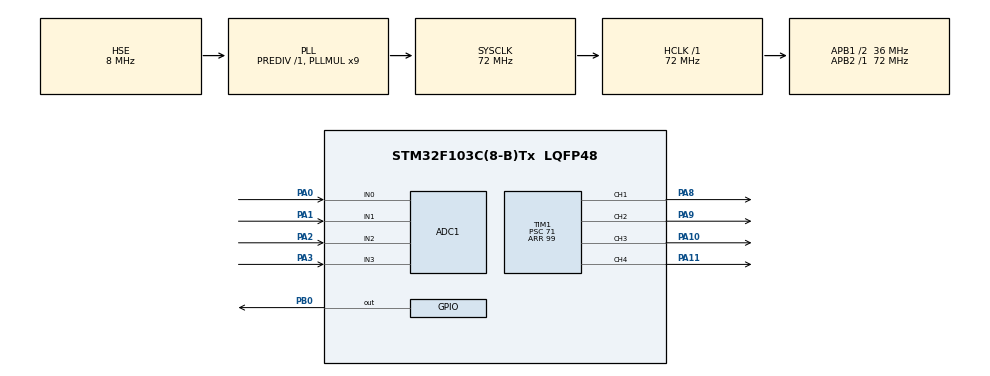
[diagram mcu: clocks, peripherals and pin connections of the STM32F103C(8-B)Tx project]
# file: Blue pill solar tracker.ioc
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ADC1.Channel-0\#ChannelRegularConversion=ADC_CHANNEL_0
ADC1.Channel-1\#ChannelRegularConversion=ADC_CHANNEL_1
ADC1.Channel-2\#ChannelRegularConversion=ADC_CHANNEL_2
ADC1.Channel-3\#ChannelRegularConversion=ADC_CHANNEL_3
ADC1.NbrOfConversion=4
ADC1.NbrOfConversionFlag=1
ADC1.Rank-0\#ChannelRegularConversion=1
ADC1.Rank-1\#ChannelRegularConversion=2
ADC1.Rank-2\#ChannelRegularConversion=3
ADC1.Rank-3\#ChannelRegularConversion=4
ADC1.SamplingTime-0\#ChannelRegularConversion=ADC_SAMPLETIME_1CYCLE_5
ADC1.SamplingTime-1\#ChannelRegularConversion=ADC_SAMPLETIME_1CYCLE_5
ADC1.SamplingTime-2\#ChannelRegularConversion=ADC_SAMPLETIME_1CYCLE_5
ADC1.SamplingTime-3\#ChannelRegularConversion=ADC_SAMPLETIME_1CYCLE_5
ADC1.master=1
Dma.ADC1.0.Direction=DMA_PERIPH_TO_MEMORY
Dma.ADC1.0.Instance=DMA1_Channel1
Dma.ADC1.0.MemDataAlignment=DMA_MDATAALIGN_WORD
Dma.ADC1.0.MemInc=DMA_MINC_ENABLE
Dma.ADC1.0.Mode=DMA_CIRCULAR
Dma.ADC1.0.PeriphDataAlignment=DMA_PDATAALIGN_WORD
Dma.ADC1.0.PeriphInc=DMA_PINC_DISABLE
Dma.ADC1.0.Priority=DMA_PRIORITY_LOW
Dma.Request0=ADC1
Mcu.Family=STM32F1
Mcu.Name=STM32F103C(8-B)Tx
Mcu.Package=LQFP48
NVIC.DMA1_Channel1_IRQn=true\:0\:0\:false\:false\:true\:false\:true\:true
NVIC.PriorityGroup=NVIC_PRIORITYGROUP_4
PA0-WKUP.Signal=ADCx_IN0
PA1.Signal=ADCx_IN1
PA10.GPIO_Speed=GPIO_SPEED_FREQ_HIGH
PA10.Signal=S_TIM1_CH3
PA11.GPIO_Speed=GPIO_SPEED_FREQ_HIGH
PA11.Signal=S_TIM1_CH4
PA13.Mode=Serial_Wire
PA13.Signal=SYS_JTMS-SWDIO
PA14.Mode=Serial_Wire
PA14.Signal=SYS_JTCK-SWCLK
PA2.Signal=ADCx_IN2
PA3.Signal=ADCx_IN3
PA8.GPIO_Speed=GPIO_SPEED_FREQ_HIGH
PA8.Signal=S_TIM1_CH1
PA9.GPIO_Speed=GPIO_SPEED_FREQ_HIGH
PA9.Signal=S_TIM1_CH2
PB0.Signal=GPIO_Output
PD0-OSC_IN.Mode=HSE-External-Oscillator
PD0-OSC_IN.Signal=RCC_OSC_IN
PD1-OSC_OUT.Mode=HSE-External-Oscillator
PD1-OSC_OUT.Signal=RCC_OSC_OUT
ProjectManager.HeapSize=0x200
ProjectManager.StackSize=0x400
ProjectManager.TargetToolchain=STM32CubeIDE
RCC.ADCPresc=RCC_ADCPCLK2_DIV6
RCC.AHBFreq_Value=72000000
RCC.APB1CLKDivider=RCC_HCLK_DIV2
RCC.APB1Freq_Value=36000000
RCC.APB1TimFreq_Value=72000000
RCC.APB2Freq_Value=72000000
RCC.APB2TimFreq_Value=72000000
RCC.HCLKFreq_Value=72000000
RCC.PLLMUL=RCC_PLL_MUL9
RCC.PLLSourceVirtual=RCC_PLLSOURCE_HSE
RCC.SYSCLKFreq_VALUE=72000000
RCC.SYSCLKSource=RCC_SYSCLKSOURCE_PLLCLK
RCC.USBFreq_Value=72000000
SH.ADCx_IN0.0=ADC1_IN0,IN0
SH.ADCx_IN1.0=ADC1_IN1,IN1
SH.ADCx_IN2.0=ADC1_IN2,IN2
SH.ADCx_IN3.0=ADC1_IN3,IN3
SH.S_TIM1_CH1.0=TIM1_CH1,PWM Generation1 CH1
SH.S_TIM1_CH2.0=TIM1_CH2,PWM Generation2 CH2
SH.S_TIM1_CH3.0=TIM1_CH3,PWM Generation3 CH3
SH.S_TIM1_CH4.0=TIM1_CH4,PWM Generation4 CH4
TIM1.Channel-PWM\ Generation1\ CH1=TIM_CHANNEL_1
TIM1.Channel-PWM\ Generation2\ CH2=TIM_CHANNEL_2
TIM1.Channel-PWM\ Generation3\ CH3=TIM_CHANNEL_3
TIM1.Channel-PWM\ Generation4\ CH4=TIM_CHANNEL_4
TIM1.Period=99
TIM1.Prescaler=71
TIM1.Pulse-PWM\ Generation1\ CH1=9
VP_TIM1_VS_ClockSourceINT.Mode=Internal
board=custom

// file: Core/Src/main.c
/* USER CODE BEGIN Header */
/**
  ******************************************************************************
  * @file           : main.c
  * @brief          : Main program body
  ******************************************************************************
  * @attention
  *
  * Copyright (c) 2024 STMicroelectronics.
  * All rights reserved.
  *
  * This software is licensed under terms that can be found in the LICENSE file
  * in the root directory of this software component.
  * If no LICENSE file comes with this software, it is provided AS-IS.
  *
  ******************************************************************************
  */
/* USER CODE END Header */
#include "main.h"

/* USER CODE BEGIN Includes */
#include "solar_tracker.h"
/* USER CODE END Includes */

ADC_HandleTypeDef hadc1;
DMA_HandleTypeDef hdma_adc1;

TIM_HandleTypeDef htim1;

/* USER CODE BEGIN PV */
volatile uint32_t LDR_val[4];
volatile uint32_t motor_output[2];

/* USER CODE END PV */

void SystemClock_Config(void);
static void MX_GPIO_Init(void);
static void MX_DMA_Init(void);
static void MX_TIM1_Init(void);
static void MX_ADC1_Init(void);

int main(void)
{

  /* MCU Configuration--------------------------------------------------------*/

  /* Reset of all peripherals, Initializes the Flash interface and the Systick. */
  HAL_Init();

  /* Configure the system clock */
  SystemClock_Config();

  /* Initialize all configured peripherals */
  MX_GPIO_Init();
  MX_DMA_Init();
  MX_TIM1_Init();
  MX_ADC1_Init();
  /* USER CODE BEGIN 2 */
  HAL_TIM_PWM_Start(&htim1, TIM_CHANNEL_1);
  HAL_TIM_PWM_Start(&htim1, TIM_CHANNEL_2);
  HAL_TIM_PWM_Start(&htim1, TIM_CHANNEL_3);
  HAL_TIM_PWM_Start(&htim1, TIM_CHANNEL_4);
  TIM1->CCR1 = 25;
  TIM1->CCR2 = 50;
  TIM1->CCR3 = 75;
  TIM1->CCR4 = 100;
  HAL_GPIO_WritePin(GPIOB, GPIO_PIN_0, GPIO_PIN_SET);
  HAL_Delay(1000);
  HAL_GPIO_WritePin(GPIOB, GPIO_PIN_0, GPIO_PIN_RESET);
  HAL_Delay(1000);
  HAL_GPIO_WritePin(GPIOB, GPIO_PIN_0, GPIO_PIN_SET);
  HAL_Delay(1000);
  HAL_GPIO_WritePin(GPIOB, GPIO_PIN_0, GPIO_PIN_RESET);
  /* USER CODE END 2 */

  /* Infinite loop */
  while (1)
  {
    HAL_ADC_Start_DMA(&hadc1, (uint32_t *)LDR_val, 4);
    HAL_Delay(1);
  }
}

void SystemClock_Config(void)
{
  RCC_OscInitTypeDef RCC_OscInitStruct = {0};
  RCC_ClkInitTypeDef RCC_ClkInitStruct = {0};
  RCC_PeriphCLKInitTypeDef PeriphClkInit = {0};

  /** Initializes the RCC Oscillators according to the specified parameters
  * in the RCC_OscInitTypeDef structure.
  */
  RCC_OscInitStruct.OscillatorType = RCC_OSCILLATORTYPE_HSE;
  RCC_OscInitStruct.HSEState = RCC_HSE_ON;
  RCC_OscInitStruct.HSEPredivValue = RCC_HSE_PREDIV_DIV1;
  RCC_OscInitStruct.HSIState = RCC_HSI_ON;
  RCC_OscInitStruct.PLL.PLLState = RCC_PLL_ON;
  RCC_OscInitStruct.PLL.PLLSource = RCC_PLLSOURCE_HSE;
  RCC_OscInitStruct.PLL.PLLMUL = RCC_PLL_MUL9;
  if (HAL_RCC_OscConfig(&RCC_OscInitStruct) != HAL_OK)
  {
    Error_Handler();
  }

  /** Initializes the CPU, AHB and APB buses clocks
  */
  RCC_ClkInitStruct.ClockType = RCC_CLOCKTYPE_HCLK|RCC_CLOCKTYPE_SYSCLK
                              |RCC_CLOCKTYPE_PCLK1|RCC_CLOCKTYPE_PCLK2;
  RCC_ClkInitStruct.SYSCLKSource = RCC_SYSCLKSOURCE_PLLCLK;
  RCC_ClkInitStruct.AHBCLKDivider = RCC_SYSCLK_DIV1;
  RCC_ClkInitStruct.APB1CLKDivider = RCC_HCLK_DIV2;
  RCC_ClkInitStruct.APB2CLKDivider = RCC_HCLK_DIV1;

  if (HAL_RCC_ClockConfig(&RCC_ClkInitStruct, FLASH_LATENCY_2) != HAL_OK)
  {
    Error_Handler();
  }
  PeriphClkInit.PeriphClockSelection = RCC_PERIPHCLK_ADC;
  PeriphClkInit.AdcClockSelection = RCC_ADCPCLK2_DIV6;
  if (HAL_RCCEx_PeriphCLKConfig(&PeriphClkInit) != HAL_OK)
  {
    Error_Handler();
  }
}

static void MX_ADC1_Init(void)
{

  ADC_ChannelConfTypeDef sConfig = {0};

  /** Common config
  */
  hadc1.Instance = ADC1;
  hadc1.Init.ScanConvMode = ADC_SCAN_ENABLE;
  hadc1.Init.ContinuousConvMode = DISABLE;
  hadc1.Init.DiscontinuousConvMode = DISABLE;
  hadc1.Init.ExternalTrigConv = ADC_SOFTWARE_START;
  hadc1.Init.DataAlign = ADC_DATAALIGN_RIGHT;
  hadc1.Init.NbrOfConversion = 4;
  if (HAL_ADC_Init(&hadc1) != HAL_OK)
  {
    Error_Handler();
  }

  /** Configure Regular Channel
  */
  sConfig.Channel = ADC_CHANNEL_0;
  sConfig.Rank = ADC_REGULAR_RANK_1;
  sConfig.SamplingTime = ADC_SAMPLETIME_1CYCLE_5;
  if (HAL_ADC_ConfigChannel(&hadc1, &sConfig) != HAL_OK)
  {
    Error_Handler();
  }

  /** Configure Regular Channel
  */
  sConfig.Channel = ADC_CHANNEL_1;
  sConfig.Rank = ADC_REGULAR_RANK_2;
  if (HAL_ADC_ConfigChannel(&hadc1, &sConfig) != HAL_OK)
  {
    Error_Handler();
  }

  /** Configure Regular Channel
  */
  sConfig.Channel = ADC_CHANNEL_2;
  sConfig.Rank = ADC_REGULAR_RANK_3;
  if (HAL_ADC_ConfigChannel(&hadc1, &sConfig) != HAL_OK)
  {
    Error_Handler();
  }

  /** Configure Regular Channel
  */
  sConfig.Channel = ADC_CHANNEL_3;
  sConfig.Rank = ADC_REGULAR_RANK_4;
  if (HAL_ADC_ConfigChannel(&hadc1, &sConfig) != HAL_OK)
  {
    Error_Handler();
  }

}

static void MX_TIM1_Init(void)
{

  TIM_ClockConfigTypeDef sClockSourceConfig = {0};
  TIM_MasterConfigTypeDef sMasterConfig = {0};
  TIM_OC_InitTypeDef sConfigOC = {0};
  TIM_BreakDeadTimeConfigTypeDef sBreakDeadTimeConfig = {0};

  htim1.Instance = TIM1;
  htim1.Init.Prescaler = 71;
  htim1.Init.CounterMode = TIM_COUNTERMODE_UP;
  htim1.Init.Period = 99;
  htim1.Init.ClockDivision = TIM_CLOCKDIVISION_DIV1;
  htim1.Init.RepetitionCounter = 0;
  htim1.Init.AutoReloadPreload = TIM_AUTORELOAD_PRELOAD_DISABLE;
  if (HAL_TIM_Base_Init(&htim1) != HAL_OK)
  {
    Error_Handler();
  }
  sClockSourceConfig.ClockSource = TIM_CLOCKSOURCE_INTERNAL;
  if (HAL_TIM_ConfigClockSource(&htim1, &sClockSourceConfig) != HAL_OK)
  {
    Error_Handler();
  }
  if (HAL_TIM_PWM_Init(&htim1) != HAL_OK)
  {
    Error_Handler();
  }
  sMasterConfig.MasterOutputTrigger = TIM_TRGO_RESET;
  sMasterConfig.MasterSlaveMode = TIM_MASTERSLAVEMODE_DISABLE;
  if (HAL_TIMEx_MasterConfigSynchronization(&htim1, &sMasterConfig) != HAL_OK)
  {
    Error_Handler();
  }
  sConfigOC.OCMode = TIM_OCMODE_PWM1;
  sConfigOC.Pulse = 9;
  sConfigOC.OCPolarity = TIM_OCPOLARITY_HIGH;
  sConfigOC.OCNPolarity = TIM_OCNPOLARITY_HIGH;
  sConfigOC.OCFastMode = TIM_OCFAST_DISABLE;
  sConfigOC.OCIdleState = TIM_OCIDLESTATE_RESET;
  sConfigOC.OCNIdleState = TIM_OCNIDLESTATE_RESET;
  if (HAL_TIM_PWM_ConfigChannel(&htim1, &sConfigOC, TIM_CHANNEL_1) != HAL_OK)
  {
    Error_Handler();
  }
  sConfigOC.Pulse = 0;
  if (HAL_TIM_PWM_ConfigChannel(&htim1, &sConfigOC, TIM_CHANNEL_2) != HAL_OK)
  {
    Error_Handler();
  }
  if (HAL_TIM_PWM_ConfigChannel(&htim1, &sConfigOC, TIM_CHANNEL_3) != HAL_OK)
  {
    Error_Handler();
  }
  if (HAL_TIM_PWM_ConfigChannel(&htim1, &sConfigOC, TIM_CHANNEL_4) != HAL_OK)
  {
    Error_Handler();
  }
  sBreakDeadTimeConfig.OffStateRunMode = TIM_OSSR_DISABLE;
  sBreakDeadTimeConfig.OffStateIDLEMode = TIM_OSSI_DISABLE;
  sBreakDeadTimeConfig.LockLevel = TIM_LOCKLEVEL_OFF;
  sBreakDeadTimeConfig.DeadTime = 0;
  sBreakDeadTimeConfig.BreakState = TIM_BREAK_DISABLE;
  sBreakDeadTimeConfig.BreakPolarity = TIM_BREAKPOLARITY_HIGH;
  sBreakDeadTimeConfig.AutomaticOutput = TIM_AUTOMATICOUTPUT_DISABLE;
  if (HAL_TIMEx_ConfigBreakDeadTime(&htim1, &sBreakDeadTimeConfig) != HAL_OK)
  {
    Error_Handler();
  }
  HAL_TIM_MspPostInit(&htim1);

}

static void MX_DMA_Init(void)
{

  /* DMA controller clock enable */
  __HAL_RCC_DMA1_CLK_ENABLE();

  /* DMA interrupt init */
  /* DMA1_Channel1_IRQn interrupt configuration */
  HAL_NVIC_SetPriority(DMA1_Channel1_IRQn, 0, 0);
  HAL_NVIC_EnableIRQ(DMA1_Channel1_IRQn);

}

static void MX_GPIO_Init(void)
{
  GPIO_InitTypeDef GPIO_InitStruct = {0};

  /* GPIO Ports Clock Enable */
  __HAL_RCC_GPIOD_CLK_ENABLE();
  __HAL_RCC_GPIOA_CLK_ENABLE();
  __HAL_RCC_GPIOB_CLK_ENABLE();

  /*Configure GPIO pin Output Level */
  HAL_GPIO_WritePin(GPIOB, GPIO_PIN_0, GPIO_PIN_RESET);

  /*Configure GPIO pin : PB0 */
  GPIO_InitStruct.Pin = GPIO_PIN_0;
  GPIO_InitStruct.Mode = GPIO_MODE_OUTPUT_PP;
  GPIO_InitStruct.Pull = GPIO_NOPULL;
  GPIO_InitStruct.Speed = GPIO_SPEED_FREQ_LOW;
  HAL_GPIO_Init(GPIOB, &GPIO_InitStruct);

}

/* USER CODE BEGIN 4 */
void HAL_ADC_ConvCpltCallback(ADC_HandleTypeDef* hadc) {
  SOLAR_TRACKER_track(LDR_val[1], LDR_val[0]/2, &(TIM1->CCR1), &(TIM1->CCR2));
  SOLAR_TRACKER_track(LDR_val[3], LDR_val[2], &(TIM1->CCR3), &(TIM1->CCR4));
}
/* USER CODE END 4 */

void Error_Handler(void)
{
  __disable_irq();
  while (1)
  {
  }
}
